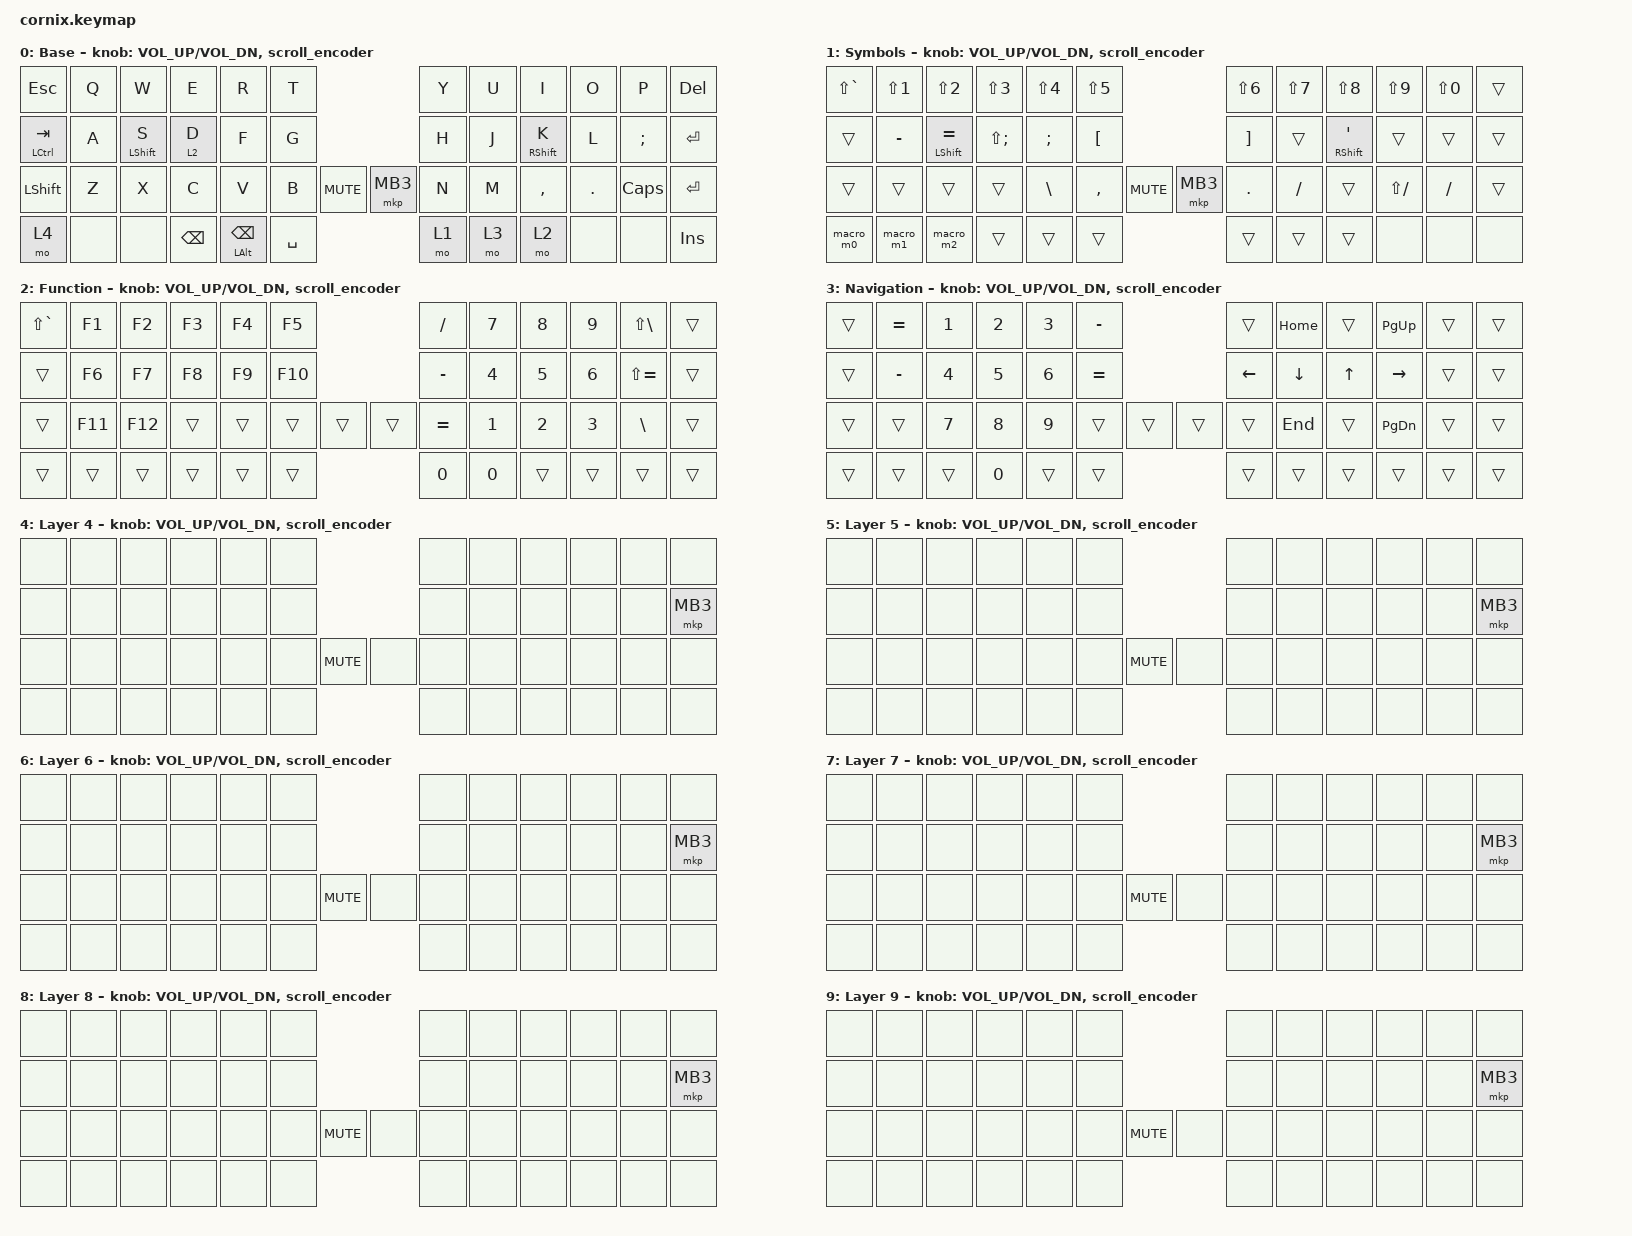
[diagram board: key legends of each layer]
/*
 * Cornix LP layout migrated from /home/valeriu/Documents/cornix_for_zmk_from_vial.
 * Vial stores the right half in reverse order; bindings below follow the physical
 * order defined by default_transform in boards/jzf/cornix/cornix-layouts.dtsi.
 */

#include <behaviors.dtsi>
#include <dt-bindings/zmk/keys.h>
#include <dt-bindings/zmk/pointing.h>

#define BASE 0

/ {
    behaviors {
        vial_mt: vial_mod_tap {
            compatible = "zmk,behavior-hold-tap";
            #binding-cells = <2>;
            flavor = "balanced";
            tapping-term-ms = <250>;
            bindings = <&kp>, <&kp>;
        };

        vial_lt: vial_layer_tap {
            compatible = "zmk,behavior-hold-tap";
            #binding-cells = <2>;
            flavor = "balanced";
            tapping-term-ms = <250>;
            bindings = <&mo>, <&kp>;
        };

        scroll_encoder: scroll_encoder {
            compatible = "zmk,behavior-sensor-rotate";
            #sensor-binding-cells = <0>;
            bindings = <&msc SCRL_UP>, <&msc SCRL_DOWN>;
        };
    };

    macros {
        macro_m0: macro_m0 {
            compatible = "zmk,behavior-macro";
            #binding-cells = <0>;
            wait-ms = <40>;
            tap-ms = <40>;
            bindings = <&kp LS(J) &kp N8 &kp C &kp N5 &kp N6 &kp V &kp N0 &kp N9 &kp N2 &kp EXCL>;
        };

        macro_m1: macro_m1 {
            compatible = "zmk,behavior-macro";
            #binding-cells = <0>;
            wait-ms = <40>;
            tap-ms = <40>;
            bindings = <&kp LS(J) &kp N8 &kp C &kp N5 &kp N6 &kp V &kp N8 &kp N5 &kp N6 &kp N8>;
        };

        macro_m2: macro_m2 {
            compatible = "zmk,behavior-macro";
            #binding-cells = <0>;
            wait-ms = <40>;
            tap-ms = <40>;
            bindings = <&kp LS(B) &kp N7 &kp MINUS &kp N0 &kp H &kp F &kp MINUS &kp Y &kp P &kp Q &kp N8 &kp N8 &kp N5 &kp N6 &kp LS(K)>;
        };
    };

    combos {
        compatible = "zmk,combos";

        combo_j_k_esc {
            bindings = <&kp ESC>;
            key-positions = <19 20>;
            layers = <BASE>;
        };

        combo_d_f_minus {
            bindings = <&kp MINUS>;
            key-positions = <15 16>;
            layers = <BASE>;
        };
    };

    keymap {
        compatible = "zmk,keymap";

        base_layer {
            display-name = "Base";
            bindings = <
&kp ESC             &kp Q  &kp W             &kp E         &kp R               &kp T                            &kp Y  &kp U  &kp I             &kp O    &kp P         &kp DEL
&vial_mt LCTRL TAB  &kp A  &vial_mt LSHFT S  &vial_lt 2 D  &kp F               &kp G                            &kp H  &kp J  &vial_mt RSHFT K  &kp L    &kp SEMI      &kp ENTER
&kp LSHFT           &kp Z  &kp X             &kp C         &kp V               &kp B      &kp C_MUTE  &mkp MB3  &kp N  &kp M  &kp COMMA         &kp DOT  &kp CAPSLOCK  &kp ENTER
&mo 4               &none  &none             &kp BSPC      &vial_mt LALT BSPC  &kp SPACE                        &mo 1  &mo 3  &mo 2             &none    &none         &kp INS
            >;

            sensor-bindings = <&inc_dec_kp C_VOL_UP C_VOL_DN &scroll_encoder>;
        };

        layer_1 {
            display-name = "Symbols";
            bindings = <
&kp LS(GRAVE)  &kp LS(N1)  &kp LS(N2)            &kp LS(N3)    &kp LS(N4)  &kp LS(N5)                        &kp LS(N6)  &kp LS(N7)  &kp LS(N8)          &kp LS(N9)    &kp LS(N0)  &trans
&trans         &kp MINUS   &vial_mt LSHFT EQUAL  &kp LS(SEMI)  &kp SEMI    &kp LBKT                          &kp RBKT    &trans      &vial_mt RSHFT SQT  &trans        &trans      &trans
&trans         &trans      &trans                &trans        &kp BSLH    &kp COMMA   &kp C_MUTE  &mkp MB3  &kp DOT     &kp FSLH    &trans              &kp LS(FSLH)  &kp FSLH    &trans
&macro_m0      &macro_m1   &macro_m2             &trans        &trans      &trans                            &trans      &trans      &trans              &none         &none       &none
            >;

            sensor-bindings = <&inc_dec_kp C_VOL_UP C_VOL_DN &scroll_encoder>;
        };

        layer_2 {
            display-name = "Function";
            bindings = <
&kp LS(GRAVE)  &kp F1   &kp F2   &kp F3  &kp F4  &kp F5                   &kp FSLH   &kp N7  &kp N8  &kp N9  &kp LS(BSLH)   &trans
&trans         &kp F6   &kp F7   &kp F8  &kp F9  &kp F10                  &kp MINUS  &kp N4  &kp N5  &kp N6  &kp LS(EQUAL)  &trans
&trans         &kp F11  &kp F12  &trans  &trans  &trans   &trans  &trans  &kp EQUAL  &kp N1  &kp N2  &kp N3  &kp BSLH       &trans
&trans         &trans   &trans   &trans  &trans  &trans                   &kp N0     &kp N0  &trans  &trans  &trans         &trans
            >;

            sensor-bindings = <&inc_dec_kp C_VOL_UP C_VOL_DN &scroll_encoder>;
        };

        layer_3 {
            display-name = "Navigation";
            bindings = <
&trans        &kp EQUAL      &kp N1          &kp N2          &kp N3            &kp MINUS             &trans             &kp HOME           &trans           &kp PG_UP     &trans        &trans
&trans        &kp MINUS      &kp N4          &kp N5          &kp N6            &kp EQUAL             &kp LEFT          &kp DOWN            &kp UP           &kp RIGHT     &trans        &trans
&trans        &trans         &kp N7          &kp N8          &kp N9            &trans    &trans        &trans           &trans            &kp END       &trans        &kp PG_DN     &trans        &trans
&trans  &trans     &trans  &kp N0  &trans  &trans                     &trans     &trans    &trans    &trans     &trans     &trans
            >;

            sensor-bindings = <&inc_dec_kp C_VOL_UP C_VOL_DN &scroll_encoder>;
        };

        layer_4 {
            display-name = "Layer 4";
            bindings = <
&none  &none  &none  &none  &none  &none                     &none  &none  &none  &none  &none  &none
&none  &none  &none  &none  &none  &none                     &none  &none  &none  &none  &none  &mkp MB3
&none  &none  &none  &none  &none  &none  &kp C_MUTE  &none  &none  &none  &none  &none  &none  &none
&none  &none  &none  &none  &none  &none                     &none  &none  &none  &none  &none  &none
            >;

            sensor-bindings = <&inc_dec_kp C_VOL_UP C_VOL_DN &scroll_encoder>;
        };

        layer_5 {
            display-name = "Layer 5";
            bindings = <
&none  &none  &none  &none  &none  &none                     &none  &none  &none  &none  &none  &none
&none  &none  &none  &none  &none  &none                     &none  &none  &none  &none  &none  &mkp MB3
&none  &none  &none  &none  &none  &none  &kp C_MUTE  &none  &none  &none  &none  &none  &none  &none
&none  &none  &none  &none  &none  &none                     &none  &none  &none  &none  &none  &none
            >;

            sensor-bindings = <&inc_dec_kp C_VOL_UP C_VOL_DN &scroll_encoder>;
        };

        layer_6 {
            display-name = "Layer 6";
            bindings = <
&none  &none  &none  &none  &none  &none                     &none  &none  &none  &none  &none  &none
&none  &none  &none  &none  &none  &none                     &none  &none  &none  &none  &none  &mkp MB3
&none  &none  &none  &none  &none  &none  &kp C_MUTE  &none  &none  &none  &none  &none  &none  &none
&none  &none  &none  &none  &none  &none                     &none  &none  &none  &none  &none  &none
            >;

            sensor-bindings = <&inc_dec_kp C_VOL_UP C_VOL_DN &scroll_encoder>;
        };

        layer_7 {
            display-name = "Layer 7";
            bindings = <
&none  &none  &none  &none  &none  &none                     &none  &none  &none  &none  &none  &none
&none  &none  &none  &none  &none  &none                     &none  &none  &none  &none  &none  &mkp MB3
&none  &none  &none  &none  &none  &none  &kp C_MUTE  &none  &none  &none  &none  &none  &none  &none
&none  &none  &none  &none  &none  &none                     &none  &none  &none  &none  &none  &none
            >;

            sensor-bindings = <&inc_dec_kp C_VOL_UP C_VOL_DN &scroll_encoder>;
        };

        layer_8 {
            display-name = "Layer 8";
            bindings = <
&none  &none  &none  &none  &none  &none                     &none  &none  &none  &none  &none  &none
&none  &none  &none  &none  &none  &none                     &none  &none  &none  &none  &none  &mkp MB3
&none  &none  &none  &none  &none  &none  &kp C_MUTE  &none  &none  &none  &none  &none  &none  &none
&none  &none  &none  &none  &none  &none                     &none  &none  &none  &none  &none  &none
            >;

            sensor-bindings = <&inc_dec_kp C_VOL_UP C_VOL_DN &scroll_encoder>;
        };

        layer_9 {
            display-name = "Layer 9";
            bindings = <
&none  &none  &none  &none  &none  &none                     &none  &none  &none  &none  &none  &none
&none  &none  &none  &none  &none  &none                     &none  &none  &none  &none  &none  &mkp MB3
&none  &none  &none  &none  &none  &none  &kp C_MUTE  &none  &none  &none  &none  &none  &none  &none
&none  &none  &none  &none  &none  &none                     &none  &none  &none  &none  &none  &none
            >;

            sensor-bindings = <&inc_dec_kp C_VOL_UP C_VOL_DN &scroll_encoder>;
        };
    };
};
